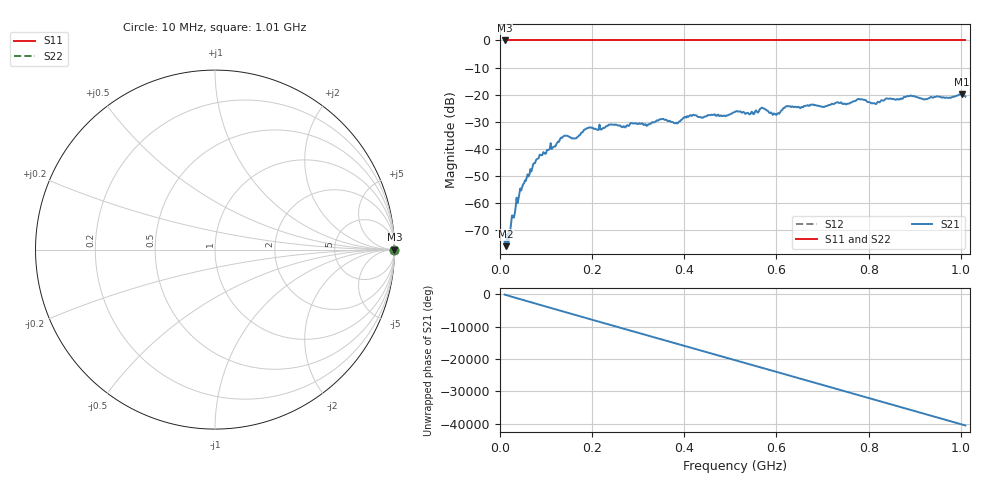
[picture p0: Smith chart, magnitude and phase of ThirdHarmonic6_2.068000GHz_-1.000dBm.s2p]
! 8/17/2025 12:46:38 AM
! C:\ANRITSUVNA\TEMP\TEMP.S2P
! CHANNEL.1
! TR.MEASUREMENT
! RAW.DATA
! RF.CORRECTION.OFF
! AVERAGING.OFF
! IF.BANDWIDTH: 5KHZ
! SWEEPTYPE:  FREQ.SWEEP(Linear)
! Reference Plane Port Info
! PORT:  PORT1  PORT2
! DISTANCE:  0  m  0  m
! TIME:  0  s  0  s
! PHASE.OFFSET:  0  deg.  0  deg.
! LOSS:  0  dB  0  dB
! REF.LOSS:  0  dB  0  dB
! REF.FREQ:  0  Hz  0  Hz
! Power Info
! POWER:  -20  dBm  -20  dBm
! EFF.POWER:  -20  dBm  -20  dBm
! SOURCE.ATTEN:  0  dB  0  dB
! TEST.ATTEN:  0  dB  0  dB
# GHZ S RI R 50.0
! FREQ.GHZ  S11RE  S11IM  S21RE  S21IM  S12RE  S12IM  S22RE  S22IM
!; PortSelection: Port_12
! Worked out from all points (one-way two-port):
!   501 points, 10 MHz to 1.01 GHz, reference 50 ohm
!   highest |S21| = -19.86 dB at 1.002 GHz (marker M1); lowest = -76.0 dB at 12 MHz (marker M2)
!   lowest |S11| = 0.0 dB at 10 MHz (marker M3)
!   |S11| at or under -10 dB: nowhere
!   |S22| runs from 0.0 to 0.0 dB; largest |S21 - S12| = 1.1
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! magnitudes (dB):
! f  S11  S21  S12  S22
! 10 MHz  0.0  -74.2  0.0  0.0
! 12 MHz  0.0  -76.0  0.0  0.0
! 18 MHz  0.0  -75.0  0.0  0.0
! 46 MHz  0.0  -55.4  0.0  0.0
! 76 MHz  0.0  -45.3  0.0  0.0
! 136 MHz  0.0  -35.6  0.0  0.0
! 162 MHz  0.0  -36.2  0.0  0.0
! 178 MHz  0.0  -34.0  0.0  0.0
! 344 MHz  0.0  -29.5  0.0  0.0
! 382 MHz  0.0  -30.4  0.0  0.0
! 416 MHz  0.0  -27.9  0.0  0.0
! 510 MHz  0.0  -26.4  0.0  0.0
! 546 MHz  0.0  -26.3  0.0  0.0
! 570 MHz  0.0  -25.0  0.0  0.0
! 596 MHz  0.0  -27.0  0.0  0.0
! 624 MHz  0.0  -24.2  0.0  0.0
! 678 MHz  0.0  -23.7  0.0  0.0
! 780 MHz  0.0  -21.7  0.0  0.0
! 814 MHz  0.0  -23.3  0.0  0.0
! 844 MHz  0.0  -21.6  0.0  0.0
! 1.002 GHz  0.0  -19.9  0.0  0.0
! 1.01 GHz  0.0  -20.7  0.0  0.0
